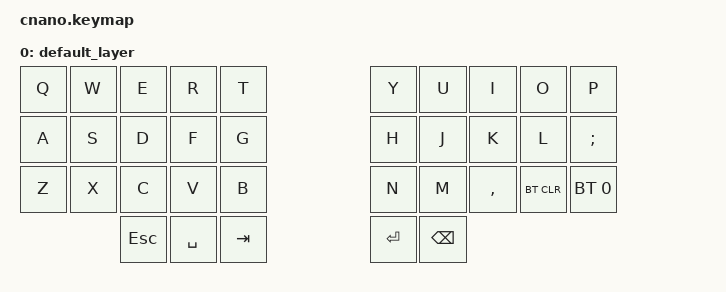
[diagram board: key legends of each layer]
/*
 * Copyright (c) 2021 Casey Webster
 *
 * SPDX-License-Identifier: MIT
 */

#include <behaviors.dtsi>
#include <dt-bindings/zmk/keys.h>
#include <dt-bindings/zmk/mouse.h>

/ {
    chosen {
        zmk,battery = &vbatt;
    };

    vbatt: vbatt {
        compatible = "zmk,battery-nrf-vddh";
        label = "VBATT";
    };

    keymap {
	compatible = "zmk,keymap";

	default_layer {
            bindings = <
&kp Q     &kp W    &kp E     &kp R     &kp T                     &kp Y     &kp U    &kp I     &kp O     &kp P    
&kp A     &kp S    &kp D     &kp F     &kp G                     &kp H     &kp J    &kp K     &kp L     &kp SEMI 
&kp Z     &kp X    &kp C     &kp V     &kp B                     &kp N     &kp M    &kp COMMA &bt BT_CLR &bt BT_SEL 0 
                   &kp ESC   &kp SPACE &kp TAB                   &kp ENTER &kp BKSP
            >;

            trackball-bindings = <&tmv_coarse>;
        };
    };
};
